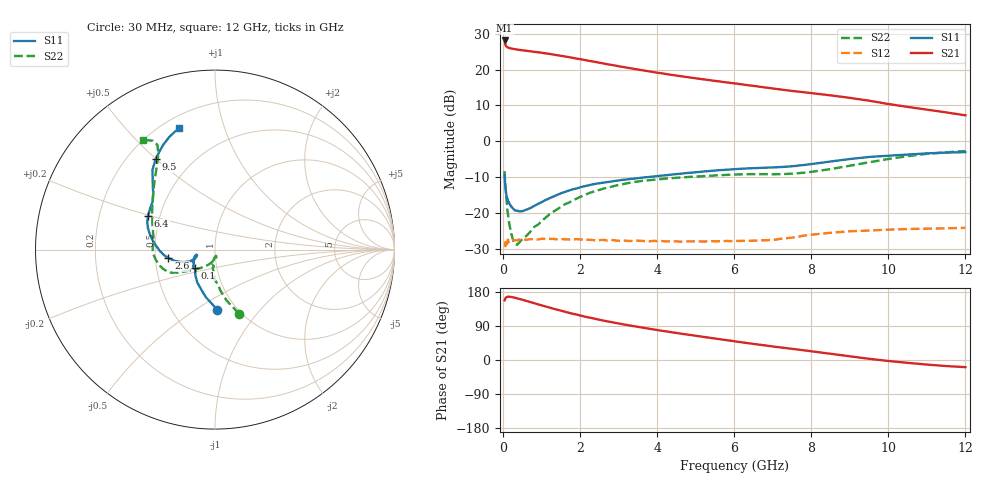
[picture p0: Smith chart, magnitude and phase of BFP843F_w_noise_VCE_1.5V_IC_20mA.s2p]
! Infineon Technologies  Discrete & RF Semiconductors
! BFP843F
! VCE =  1.5 V,  IC =  20 mA
! Common Emitter S-Parameters:  Aug 2013
# GHz  S  MA  R  50
!  f  S11  S21  S12  S22
! GHz  MAG  ANG  MAG  ANG  MAG  ANG  MAG  ANG
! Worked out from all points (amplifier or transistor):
!   103 points, 30 MHz to 12 GHz, reference 50 ohm
!   highest |S21| = 28.2 dB at 30 MHz (marker M1)
!   |S21| within 3 dB of that: start of sweep to 675.9 MHz
!   unconditionally stable (mu >= 1): 126.6 MHz to end of sweep
!   at 400 MHz: K = 1.01, MAG = 25.8 dB, |S12| = -27.5 dB
!   at 3.7 GHz: K = 1.23, MAG = 20.9 dB, |S12| = -28.0 dB
!   at 12 GHz: K = 1.23, MAG = 12.8 dB, |S12| = -24.2 dB
!   lowest NFmin = 0.91 dB at 450 MHz
!   S11 on the Smith chart (normalised r, x): 30 MHz: 0.82, -0.62; 100 MHz: 0.78, -0.16; 2.6 GHz: 0.59, -0.06; 6.4 GHz: 0.43, +0.20; 9.5 GHz: 0.31, +0.50; 12 GHz: 0.27, +0.71
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0.03  0.336 -87.7  25.63 157.5  0.0376 23.1  0.3809 -69.5
0.04  0.2701 -100.8  23.59 159.4  0.0379 20.3  0.2912 -77.1
0.05  0.2363 -108.8  22.36 162.6  0.0341 14.6  0.2305 -82.5
0.07  0.1857 -125.4  21.27 165.0  0.0403 8.0  0.1676 -90.5
0.1  0.1522 -138.5  20.57 166.5  0.0395 11.9  0.1108 -95.9
0.15  0.1356 -150.5  20.12 167.1  0.0403 8.5  0.0707 -98.9
0.2  0.1227 -160.0  19.75 166.4  0.0408 7.3  0.0515 -96.1
0.35  0.1072 -164.8  19.14 162.8  0.041 3.2  0.0357 -79.1
0.9  0.1333 -155.6  17.52 146.8  0.0423 3.2  0.0684 -102.4
1.3  0.1689 -156.9  16.27 135.3  0.043 1.7  0.1038 -118.8
1.7  0.2043 -160.4  14.99 124.6  0.0423 1.8  0.1385 -131.1
2.1  0.2346 -164.8  13.7 114.8  0.0422 1.3  0.1755 -139.1
2.6  0.2638 -169.8  12.21 104.0  0.0417 2.0  0.2177 -145.4
3.2  0.2918 -175.5  10.7 92.5  0.0405 3.1  0.2573 -150.4
4.1  0.3308 176.1  8.911 77.4  0.0403 5.3  0.2961 -156.6
5  0.3689 167.7  7.581 63.8  0.0399 8.4  0.3205 -164.2
6.1  0.4101 156.8  6.334 48.0  0.0403 13.0  0.3427 -175.9
6.4  0.4179 153.3  6.026 43.8  0.0405 14.6  0.347 -179.4
8.5  0.5209 131.8  4.374 16.4  0.0525 21.7  0.408 149.2
9.5  0.6024 123.3  3.683 3.2  0.0564 19.3  0.5082 131.6
10.5  0.6511 116.3  3.017 -7.5  0.0592 17.2  0.6182 120.7
12  0.7037 106.4  2.304 -18.9  0.0616 18.3  0.7306 123.3
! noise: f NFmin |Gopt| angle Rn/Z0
0.45  0.91  0.05  178  0.09
0.9  0.91  0.06  172  0.09
1.5  0.94  0.08  171  0.09
1.9  0.99  0.08  172  0.1
2.4  1.03  0.1  173  0.1
3.5  1.07  0.13  -176  0.16
5.5  1.18  0.21  -147  0.23
10  1.69  0.38  -105  0.33
